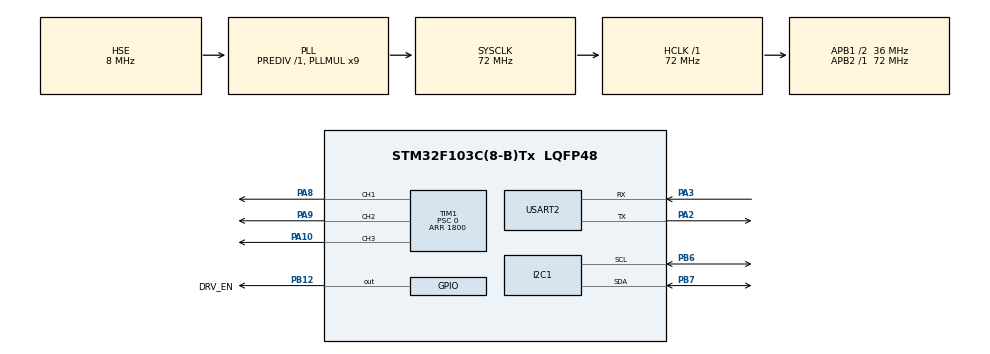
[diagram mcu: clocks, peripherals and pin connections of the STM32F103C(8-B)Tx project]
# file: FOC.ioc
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I2C1.I2C_Mode=I2C_Fast
Mcu.Family=STM32F1
Mcu.Name=STM32F103C(8-B)Tx
Mcu.Package=LQFP48
NVIC.I2C1_ER_IRQn=true\:0\:0\:false\:false\:true\:true\:true\:true
NVIC.I2C1_EV_IRQn=true\:0\:0\:false\:false\:true\:true\:true\:true
NVIC.PriorityGroup=NVIC_PRIORITYGROUP_4
NVIC.TIM2_IRQn=true\:1\:0\:true\:false\:true\:true\:true\:true
NVIC.USART2_IRQn=true\:2\:0\:true\:false\:true\:true\:true\:true
PA10.Signal=S_TIM1_CH3
PA13.Mode=Serial_Wire
PA13.Signal=SYS_JTMS-SWDIO
PA14.Mode=Serial_Wire
PA14.Signal=SYS_JTCK-SWCLK
PA2.Mode=Asynchronous
PA2.Signal=USART2_TX
PA3.Mode=Asynchronous
PA3.Signal=USART2_RX
PA8.Signal=S_TIM1_CH1
PA9.Signal=S_TIM1_CH2
PB12.GPIO_Label=DRV_EN
PB12.GPIO_Speed=GPIO_SPEED_FREQ_HIGH
PB12.Signal=GPIO_Output
PB6.Mode=I2C
PB6.Signal=I2C1_SCL
PB7.Mode=I2C
PB7.Signal=I2C1_SDA
PD0-OSC_IN.Mode=HSE-External-Oscillator
PD0-OSC_IN.Signal=RCC_OSC_IN
PD1-OSC_OUT.Mode=HSE-External-Oscillator
PD1-OSC_OUT.Signal=RCC_OSC_OUT
ProjectManager.HeapSize=0x200
ProjectManager.StackSize=0x400
ProjectManager.TargetToolchain=MDK-ARM V5.32
RCC.AHBFreq_Value=72000000
RCC.APB1CLKDivider=RCC_HCLK_DIV2
RCC.APB1Freq_Value=36000000
RCC.APB1TimFreq_Value=72000000
RCC.APB2Freq_Value=72000000
RCC.APB2TimFreq_Value=72000000
RCC.HCLKFreq_Value=72000000
RCC.PLLMUL=RCC_PLL_MUL9
RCC.PLLSourceVirtual=RCC_PLLSOURCE_HSE
RCC.SYSCLKFreq_VALUE=72000000
RCC.SYSCLKSource=RCC_SYSCLKSOURCE_PLLCLK
RCC.USBFreq_Value=72000000
SH.S_TIM1_CH1.0=TIM1_CH1,PWM Generation1 CH1
SH.S_TIM1_CH2.0=TIM1_CH2,PWM Generation2 CH2
SH.S_TIM1_CH3.0=TIM1_CH3,PWM Generation3 CH3
TIM1.AutoReloadPreload=TIM_AUTORELOAD_PRELOAD_ENABLE
TIM1.Channel-PWM\ Generation1\ CH1=TIM_CHANNEL_1
TIM1.Channel-PWM\ Generation2\ CH2=TIM_CHANNEL_2
TIM1.Channel-PWM\ Generation3\ CH3=TIM_CHANNEL_3
TIM1.CounterMode=TIM_COUNTERMODE_CENTERALIGNED1
TIM1.Period=1800
TIM1.Prescaler=0
TIM2.Period=999
TIM2.Prescaler=71
USART2.VirtualMode=VM_ASYNC
VP_TIM2_VS_ClockSourceINT.Mode=Internal
board=custom

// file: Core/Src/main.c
/* USER CODE BEGIN Header */
/**
  ******************************************************************************
  * @file           : main.c
  * @brief          : Main program body
  ******************************************************************************
  * @attention
  *
  * Copyright (c) 2026 STMicroelectronics.
  * All rights reserved.
  *
  * This software is licensed under terms that can be found in the LICENSE file
  * in the root directory of this software component.
  * If no LICENSE file comes with this software, it is provided AS-IS.
  *
  ******************************************************************************
  */
/* USER CODE END Header */
#include "main.h"
#include "i2c.h"
#include "tim.h"
#include "usart.h"
#include "gpio.h"

/* USER CODE BEGIN Includes */
#include "AS5600.h"
#include "motorpwm.h"
#include "FOC.h"
#include "motorapp.h"
#include <stdlib.h>
#include <math.h>
#include <string.h>
#include "config.h"
#include "Position_pid.h"
#include "Speed_pid.h"
/* USER CODE END Includes */

/* USER CODE BEGIN PV */
static volatile uint8_t uart_send_request = 0;
static volatile uint8_t uart_tx_busy = 0;
static uint8_t uart_tx_buffer[12];

#define RX_SIZE 64U

static uint8_t rx_byte;                  // 每次收到的一个字节
static char rx_buffer[RX_SIZE];          // 新增接收数组
static volatile uint16_t rx_count = 0;
static volatile uint8_t rx_ready = 0;    // 完整命令已收到
static uint8_t rx_discard = 0;           // 丢弃超长或来不及处理的行

pid Speed_pid;
pid Position_pid;
/* USER CODE END PV */

void SystemClock_Config(void);

/* USER CODE BEGIN 0 */

//位置环串口调试
static void UART_CommandProcess(void)
{
    char command[RX_SIZE];
    char *end;
    float value;
    float intmax = 0.0f;
    float intmin = 0.0f;
    uint32_t irq_state;

    if (!rx_ready)
    {
        return;
    }

    /* 复制完整命令，再释放接收缓冲区 */
    irq_state = __get_PRIMASK();
    __disable_irq();

    memcpy(command, rx_buffer, sizeof(command));
    rx_count = 0;
    rx_ready = 0;

    __set_PRIMASK(irq_state);

    /* 格式：P=5、I=0.01、D=0、T=1.5708 */
    if (command[0] == '\0' || command[1] != '=')
    {
        return;
    }

    value = strtof(&command[2], &end);

    /* 拒绝空值、无效尾部、NaN 和无穷大 */
    if (end == &command[2] || *end != '\0' || !isfinite(value))
    {
        return;
    }

    switch (command[0])
    {
        case 'T':
            /* 单圈目标位置，单位 rad */
            if (value < -PI || value > PI)
            {
                return;
            }
            break;

        case 'P':
        case 'I':
        case 'D':
            if (value < 0.0f || value > 10.0f)
            {
                return;
            }

            /*
             * 位置环输出是目标转速。
             * 让积分项 ki * errorint 受位置环输出上下限约束。
             * ki 为 0 时，积分上下限保持为 0。
             */
            if (command[0] == 'I' && value > 0.0f)
            {
                intmax = Position_pid.outmax / value;
                intmin = Position_pid.outmin / value;

                if (!isfinite(intmax) || !isfinite(intmin))
                {
                    return;
                }
            }
            break;

        default:
            return;
    }

    /* 防止 TIM2 在参数更新到一半时执行 */
    irq_state = __get_PRIMASK();
    __disable_irq();

    switch (command[0])
    {
        case 'P':
            Position_pid.kp = value;
            break;

        case 'I':
            Position_pid.ki = value;
            Position_pid.errorint = 0.0f;
            Position_pid.intmax = intmax;
            Position_pid.intmin = intmin;
            break;

        case 'D':
            Position_pid.kd = value;
            break;

        case 'T':
            Position_pid.target = value;

            /* 切换目标时，清除上一目标留下的积分 */
            Position_pid.errorint = 0.0f;
            break;

        default:
            break;
    }

    __set_PRIMASK(irq_state);
}

//速度环串口调试
//static void UART_CommandProcess(void)
//{
//    char command[RX_SIZE];
//    char *end;
//    float value;
//    uint32_t irq_state;

//    if (!rx_ready)
//    {
//        return;
//    }

//    // 把完整命令复制到局部数组，再释放接收数组
//    irq_state = __get_PRIMASK();
//    __disable_irq();

//    memcpy(command, rx_buffer, sizeof(command));
//    rx_count = 0;
//    rx_ready = 0;

//    __set_PRIMASK(irq_state);

//    // 格式例如 P=0.01
//    if (command[0] == '\0' || command[1] != '=')
//    {
//        return;
//    }

//    value = strtof(&command[2], &end);

//    // 必须有数字，且不能有无效尾部、NaN或无穷大
//    if (end == &command[2] || *end != '\0' || !isfinite(value))
//    {
//        return;
//    }

//    // 示例输入范围：目标速度±100rpm，增益0～10
//    // 增益范围只用于检查输入，不代表推荐值
//    if (command[0] == 'T')
//    {
//        if (value < -200.0f || value > 200.0f)
//            return;
//    }
//    else if (command[0] == 'P' ||
//             command[0] == 'I' ||
//             command[0] == 'D')
//    {
//        if (value < 0.0f || value > 10.0f)
//            return;
//    }
//    else
//    {
//        return;
//    }

//    // 避免TIM2在参数更新到一半时执行
//    irq_state = __get_PRIMASK();
//    __disable_irq();

//    switch (command[0])
//    {
//        case 'P':
//            Speed_pid.kp = value;
//            break;

//        case 'I':
//            Speed_pid.ki = value;
//            Speed_pid.errorint = 0.0f;
//            break;

//        case 'D':
//            Speed_pid.kd = value;
//            break;

//        case 'T':
//            Speed_pid.target = value;
//            break;
//    }

//    __set_PRIMASK(irq_state);
//}

/* USER CODE END 0 */

int main(void)
{

  /* USER CODE BEGIN 1 */
  SpeedPid_Init(&Speed_pid);
  Speed_pid.kp = 0.1;
  Speed_pid.ki = 0.0015;
  Speed_pid.kd = 0.3;

  Speed_pid.outmax =  0.5;
  Speed_pid.outmin = -0.5;

  if(Speed_pid.ki!=0)
  {
	  Speed_pid.intmax =  0.3/Speed_pid.ki;
	  Speed_pid.intmin = -0.3/Speed_pid.ki;
  }

  PositionPid_Init(&Position_pid);
  Position_pid.kp = 5;
  Position_pid.ki = 0;
  Position_pid.kd = 1;

  Position_pid.outmax =  150.0f;
  Position_pid.outmin = -150.0f;

  if(Position_pid.ki!=0)
  {
	  Position_pid.intmax = 0;
	  Position_pid.intmin = 0;
  }
  Position_pid.target = 0.0f;
  /* USER CODE END 1 */

  /* MCU Configuration--------------------------------------------------------*/

  /* Reset of all peripherals, Initializes the Flash interface and the Systick. */
  HAL_Init();

  /* Configure the system clock */
  SystemClock_Config();

  /* Initialize all configured peripherals */
  MX_GPIO_Init();
  MX_I2C1_Init();
  MX_TIM1_Init();
  MX_TIM2_Init();
  MX_USART2_UART_Init();
  /* USER CODE BEGIN 2 */

  MotorPWM_Init();
  MotorPWM_Enable();
  HAL_TIM_Base_Start_IT(&htim2);

  HAL_UART_Receive_IT(&huart2, &rx_byte, 1);
  /* USER CODE END 2 */

  /* Infinite loop */
  /* USER CODE BEGIN WHILE */

  while (1)
  {

	  UART_CommandProcess();

	  if((uart_send_request ==1)&&(uart_tx_busy==0))
	  {
			float angle = AS5600_GetAngle();
			float speed = AS5600_GetSpeed();

			uart_send_request = 0;

			memcpy(&uart_tx_buffer[0], &angle, sizeof(float));
			memcpy(&uart_tx_buffer[4], &speed, sizeof(float));

			uart_tx_buffer[8]  = 0x00;
			uart_tx_buffer[9]  = 0x00;
			uart_tx_buffer[10] = 0x80;
			uart_tx_buffer[11] = 0x7F;

			uart_tx_busy = 1;

		  if(HAL_UART_Transmit_IT(&huart2,uart_tx_buffer,sizeof(uart_tx_buffer)) != HAL_OK)
		  {
			  uart_tx_busy = 0;
		  }
	  }
    /* USER CODE END WHILE */

  }
}

void SystemClock_Config(void)
{
  RCC_OscInitTypeDef RCC_OscInitStruct = {0};
  RCC_ClkInitTypeDef RCC_ClkInitStruct = {0};

  /** Initializes the RCC Oscillators according to the specified parameters
  * in the RCC_OscInitTypeDef structure.
  */
  RCC_OscInitStruct.OscillatorType = RCC_OSCILLATORTYPE_HSE;
  RCC_OscInitStruct.HSEState = RCC_HSE_ON;
  RCC_OscInitStruct.HSEPredivValue = RCC_HSE_PREDIV_DIV1;
  RCC_OscInitStruct.HSIState = RCC_HSI_ON;
  RCC_OscInitStruct.PLL.PLLState = RCC_PLL_ON;
  RCC_OscInitStruct.PLL.PLLSource = RCC_PLLSOURCE_HSE;
  RCC_OscInitStruct.PLL.PLLMUL = RCC_PLL_MUL9;
  if (HAL_RCC_OscConfig(&RCC_OscInitStruct) != HAL_OK)
  {
    Error_Handler();
  }

  /** Initializes the CPU, AHB and APB buses clocks
  */
  RCC_ClkInitStruct.ClockType = RCC_CLOCKTYPE_HCLK|RCC_CLOCKTYPE_SYSCLK
                              |RCC_CLOCKTYPE_PCLK1|RCC_CLOCKTYPE_PCLK2;
  RCC_ClkInitStruct.SYSCLKSource = RCC_SYSCLKSOURCE_PLLCLK;
  RCC_ClkInitStruct.AHBCLKDivider = RCC_SYSCLK_DIV1;
  RCC_ClkInitStruct.APB1CLKDivider = RCC_HCLK_DIV2;
  RCC_ClkInitStruct.APB2CLKDivider = RCC_HCLK_DIV1;

  if (HAL_RCC_ClockConfig(&RCC_ClkInitStruct, FLASH_LATENCY_2) != HAL_OK)
  {
    Error_Handler();
  }
}

/* USER CODE BEGIN 4 */
void HAL_TIM_PeriodElapsedCallback(TIM_HandleTypeDef *htim)
{
	static uint16_t usart_cnt = 0;
	static uint16_t position_cnt = 0;
    if (htim->Instance == TIM2)
    {
        usart_cnt++;
		position_cnt++;

		if(AS5600_AngleIsValid())
		{
			float mechanical_angle = AS5600_GetAngle();
			float mechanical_rpm = AS5600_GetSpeed();

			if(position_cnt>=5)
			{
				position_cnt = 0;

				PositionPid_Update(&Position_pid,mechanical_angle);
				Speed_pid.target = Position_pid.out;
			}

			SpeedPid_Update(&Speed_pid,mechanical_rpm);

			float electrical_angle = motorAngle(7.0f * mechanical_angle);
			//传入当前电角度只为计算三相占空比，转动快慢实际由Uq控制
			SVPWM_FOC(0.0f, Speed_pid.out, electrical_angle);
		}

		HAL_StatusTypeDef I2C_statu =  AS5600_Read_RawAngle();

		if(usart_cnt>=10)
		{
			usart_cnt = 0;
			uart_send_request = 1;
		}
		//接下来是闭环控制阶段
    }
}

void HAL_UART_TxCpltCallback(UART_HandleTypeDef *huart)
{
    if (huart->Instance == USART2)
    {
        uart_tx_busy = 0;
    }
}

void HAL_UART_RxCpltCallback(UART_HandleTypeDef *huart)
{
	if (huart->Instance == USART2)
    {
        char ch = (char)rx_byte;

    if (ch == '\n')
    {
        if (!rx_ready && !rx_discard && rx_count > 0U)
        {
            rx_buffer[rx_count] = '\0';
            rx_ready = 1;
        }

        if (!rx_ready)
        {
            rx_count = 0;
        }

        rx_discard = 0;
    }
    else if (ch != '\r')
    {
        if (rx_ready || rx_discard)
        {
            // 上一条未处理，或本行已超长：丢弃到换行
            rx_discard = 1;
        }
        else if (rx_count < RX_SIZE - 1U)
        {
            rx_buffer[rx_count++] = ch;
        }
        else
        {
            rx_count = 0;
            rx_discard = 1;
        }
    }

    // 继续接收下一个字节
    HAL_UART_Receive_IT(&huart2, &rx_byte, 1);
    }

}
/* USER CODE END 4 */

void Error_Handler(void)
{
  __disable_irq();
  while (1)
  {
  }
}
